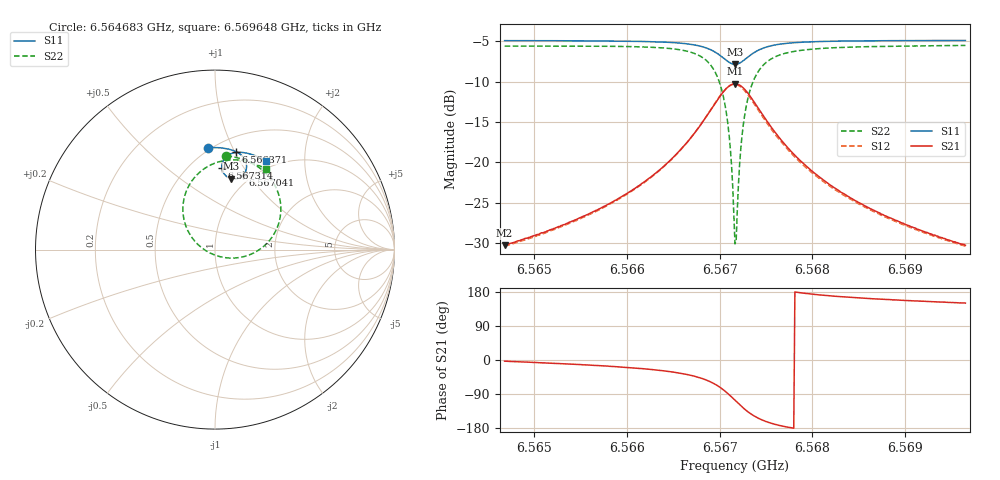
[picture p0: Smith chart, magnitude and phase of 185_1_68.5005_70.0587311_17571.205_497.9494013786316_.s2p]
#  HZ  S  RI  R  50.00
! Rohde & Schwarz Vector Network Analyzer
! Rohde-Schwarz,ZNB20-2Port,1311601062101988,3.16
! Created: UTC 3/20/2024, 5:12:00 PM
! freq[Hz]  re:S11  im:S11  re:S21  im:S21  re:S12  im:S12  re:S22  im:S22
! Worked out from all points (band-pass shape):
!   401 points, 6.564683 GHz to 6.569648 GHz, reference 50 ohm
!   highest |S21| = -10.25 dB at 6.567166 GHz (marker M1); lowest = -30.3 dB at 6.564683 GHz (marker M2)
!   |S21| within 3 dB of the highest: 6.566918 GHz to 6.567415 GHz (496.7 kHz wide, 0.00756 % of centre)
!   lowest |S11| = -7.8 dB at 6.567166 GHz (marker M3), VSWR 2.36, Z = 42.6 + j40.2 ohm
!   |S11| at or under -10 dB: nowhere
!   |S22| runs from -30.1 to -5.5 dB; largest |S21 - S12| = 0.015
!   S11 on the Smith chart (normalised r, x): 6.564683 GHz: 0.48, +0.81; 6.566371 GHz: 0.64, +1.01; 6.567041 GHz: 0.91, +0.94; 6.567314 GHz: 0.70, +0.80; 6.569648 GHz: 0.89, +1.31
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6.5646826e9  -0.0376 0.5679  0.0305 -0.00162  0.0301 -0.00223  0.0638 0.5224
6.5655143e9  0.0318 0.5669  0.0447 -0.00971  0.044 -0.0104  0.1465 0.5055
6.5663461e9  0.1131 0.5475  0.0793 -0.0405  0.0781 -0.0417  0.2664 0.4406
6.566371e9  0.1159 0.5462  0.0811 -0.0427  0.0798 -0.0437  0.2714 0.4362
6.5666441e9  0.1496 0.5233  0.1039 -0.0813  0.1024 -0.0829  0.332 0.3608
6.5668427e9  0.1728 0.486  0.1163 -0.1465  0.1133 -0.1497  0.3669 0.235
6.5669545e9  0.1745 0.4493  0.1008 -0.2107  0.0951 -0.215  0.3423 0.1124
6.5670414e9  0.157 0.415  0.053 -0.269  0.0431 -0.2721  0.2536 0.00431
6.5671034e9  0.1288 0.3968  -0.00929 -0.2976  -0.0224 -0.297  0.138 -0.0438
6.5671283e9  0.1145 0.3937  -0.0394 -0.301  -0.0531 -0.2983  0.0832 -0.0473
6.5671531e9  0.0992 0.3936  -0.0704 -0.2986  -0.0842 -0.2932  0.0275 -0.0392
6.5671655e9  0.0917 0.3948  -0.0859 -0.2948  -0.0995 -0.2885  0.000571 -0.0312
6.5671779e9  0.0843 0.397  -0.101 -0.29  -0.1139 -0.2821  -0.0254 -0.02
6.5671903e9  0.0773 0.3998  -0.1152 -0.2833  -0.1275 -0.2743  -0.05 -0.00653
6.5672276e9  0.0591 0.4124  -0.1525 -0.2564  -0.1622 -0.245  -0.1118 0.0459
6.5672524e9  0.0498 0.4234  -0.1716 -0.2343  -0.1791 -0.2218  -0.1415 0.0876
6.5673145e9  0.0385 0.4533  -0.1975 -0.1755  -0.1999 -0.1627  -0.1771 0.1944
6.5674138e9  0.0448 0.4933  -0.1947 -0.0982  -0.1925 -0.0887  -0.1586 0.3285
6.5675628e9  0.0725 0.5253  -0.1594 -0.0354  -0.156 -0.0303  -0.083 0.433
6.5679973e9  0.1409 0.5421  -0.0875 0.00964  -0.0854 0.0109  0.0736 0.4987
6.5688291e9  0.222 0.5238  -0.0425 0.016  -0.0416 0.0163  0.2057 0.4834
6.5696484e9  0.2842 0.4949  -0.0265 0.0153  -0.026 0.0154  0.2823 0.4504
